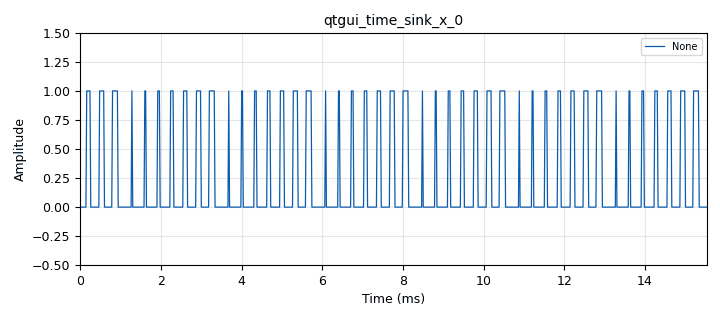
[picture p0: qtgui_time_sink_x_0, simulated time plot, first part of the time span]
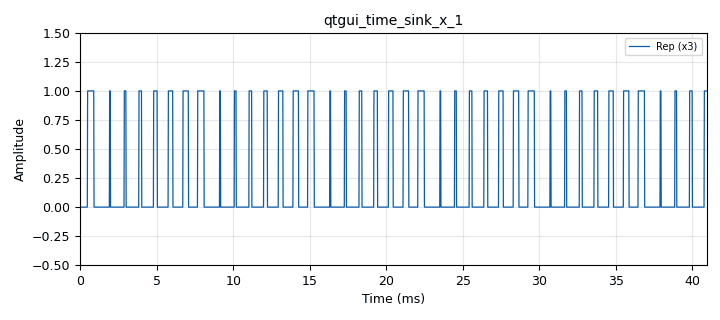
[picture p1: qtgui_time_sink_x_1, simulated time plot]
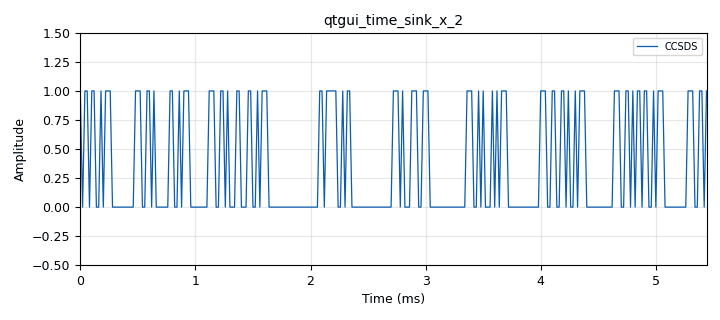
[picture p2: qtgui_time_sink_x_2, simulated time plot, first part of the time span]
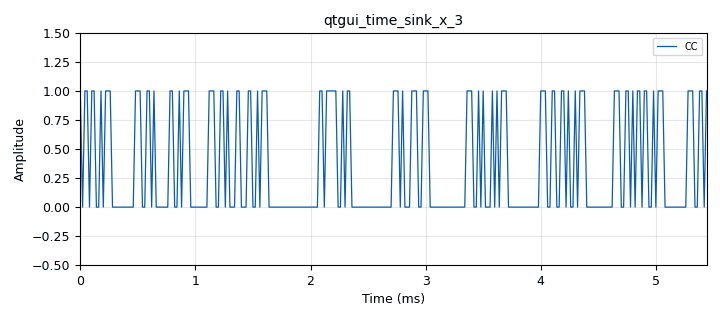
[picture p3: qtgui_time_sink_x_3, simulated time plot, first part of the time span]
options:
  parameters:
    category: Custom
    generate_options: qt_gui
    id: fecapi_tagged_encoders
    output_language: python
  states: {}

blocks:
- name: enc_cc
  id: variable_cc_encoder_def
  parameters:
    dim1: '1'
    framebits: MTU*8
    k: k
    mode: fec.CC_TERMINATED
    ndim: '1'
    padding: 'False'
    polys: polys
    rate: rate
    state_start: '0'
  states: {}
- name: enc_ccsds
  id: variable_ccsds_encoder_def
  parameters:
    dim1: '1'
    framebits: MTU*8
    mode: fec.CC_TERMINATED
    ndim: '1'
    state_start: '0'
  states: {}
- name: enc_dummy
  id: variable_dummy_encoder_def
  parameters:
    dim1: '1'
    framebits: MTU*8
    ndim: '1'
  states: {}
- name: enc_rep
  id: variable_repetition_encoder_def
  parameters:
    dim1: '1'
    framebits: MTU*8
    ndim: '1'
    rep: '3'
  states: {}
- name: k
  id: variable
  parameters:
    value: '7'
  states: {}
- name: length_tag
  id: variable
  parameters:
    value: '"packet_len"'
  states: {}
- name: polys
  id: variable
  parameters:
    value: '[109, 79]'
  states: {}
- name: rate
  id: variable
  parameters:
    value: '2'
  states: {}
- name: samp_rate
  id: variable
  parameters:
    value: '50000'
  states: {}
- name: MTU
  id: parameter
  parameters:
    label: MTU
    type: intx
    value: '1000'
  states: {}
- name: analog_random_source_x_0
  id: analog_random_source_x
  parameters:
    max: '256'
    min: '0'
    num_samps: '1000'
    repeat: 'True'
    type: byte
  states: {state: disabled}
- name: blocks_char_to_float_1
  id: blocks_char_to_float
  parameters:
    scale: '1'
  states: {}
- name: blocks_char_to_float_1_0
  id: blocks_char_to_float
  parameters:
    scale: '1'
  states: {}
- name: blocks_char_to_float_1_0_0
  id: blocks_char_to_float
  parameters:
    scale: '1'
  states: {}
- name: blocks_char_to_float_1_0_0_0
  id: blocks_char_to_float
  parameters:
    scale: '1'
  states: {}
- name: blocks_ctrlport_monitor_performance_0
  id: blocks_ctrlport_monitor_performance
  parameters:
    en: 'True'
  states: {state: disabled}
- name: blocks_repack_bits_bb_0
  id: blocks_repack_bits_bb
  parameters:
    endianness: gr.GR_LSB_FIRST
    k: '8'
    l: '1'
    len_tag_key: packet_len
  states: {}
- name: blocks_stream_to_tagged_stream_0_0
  id: blocks_stream_to_tagged_stream
  parameters:
    len_tag_key: length_tag
    packet_len: frame_size
    type: byte
  states: {}
- name: blocks_throttle_0
  id: blocks_throttle
  parameters:
    samples_per_second: samp_rate
    type: byte
  states: {}
- name: blocks_vector_source_x_0_1_0
  id: blocks_vector_source_x
  parameters:
    repeat: 'True'
    type: byte
    vector: 4*[0, 0, 1, 0, 3, 0, 7, 0, 15, 0, 31, 0, 63, 0, 127]
  states: {}
- name: fec_extended_tagged_encoder_0
  id: fec_extended_tagged_encoder
  parameters:
    encoder_list: enc_dummy
    lentagname: length_tag
    mtu: '1500'
    puncpat: puncpat
  states: {}
- name: fec_extended_tagged_encoder_1
  id: fec_extended_tagged_encoder
  parameters:
    encoder_list: enc_rep
    lentagname: length_tag
    mtu: '1500'
    puncpat: puncpat
  states: {}
- name: fec_extended_tagged_encoder_2
  id: fec_extended_tagged_encoder
  parameters:
    encoder_list: enc_ccsds
    lentagname: length_tag
    mtu: '1500'
    puncpat: puncpat
  states: {}
- name: fec_extended_tagged_encoder_3
  id: fec_extended_tagged_encoder
  parameters:
    encoder_list: enc_cc
    lentagname: length_tag
    mtu: '1500'
    puncpat: puncpat
  states: {}
- name: frame_size
  id: parameter
  parameters:
    label: Frame Size
    type: intx
    value: '30'
  states: {}
- name: puncpat
  id: parameter
  parameters:
    value: '''11'''
  states: {}
- name: qtgui_time_sink_x_0
  id: qtgui_time_sink_x
  parameters:
    color1: '"blue"'
    gui_hint: 0,0,1,1
    label1: None
    name: ''
    size: '2048'
    srate: samp_rate
    tr_tag: packet_len
    type: float
    update_time: '0.05'
    ymax: '1.5'
    ymin: '-0.5'
  states: {}
- name: qtgui_time_sink_x_1
  id: qtgui_time_sink_x
  parameters:
    color1: '"blue"'
    gui_hint: 1,0,1,1
    label1: Rep (x3)
    name: ''
    size: '2048'
    srate: samp_rate
    tr_tag: packet_len
    type: float
    update_time: '0.05'
    ymax: '1.5'
    ymin: '-0.5'
  states: {}
- name: qtgui_time_sink_x_2
  id: qtgui_time_sink_x
  parameters:
    color1: '"blue"'
    gui_hint: 2,0,1,1
    label1: CCSDS
    name: ''
    size: '2048'
    srate: samp_rate
    tr_tag: packet_len
    type: float
    update_time: '0.05'
    ymax: '1.5'
    ymin: '-0.5'
  states: {}
- name: qtgui_time_sink_x_3
  id: qtgui_time_sink_x
  parameters:
    color1: '"blue"'
    gui_hint: 3,0,1,1
    label1: CC
    name: ''
    size: '2048'
    srate: samp_rate
    tr_tag: packet_len
    type: float
    update_time: '0.05'
    ymax: '1.5'
    ymin: '-0.5'
  states: {}

connections:
- [analog_random_source_x_0, '0', blocks_throttle_0, '0']
- [blocks_char_to_float_1, '0', qtgui_time_sink_x_3, '0']
- [blocks_char_to_float_1_0, '0', qtgui_time_sink_x_2, '0']
- [blocks_char_to_float_1_0_0, '0', qtgui_time_sink_x_0, '0']
- [blocks_char_to_float_1_0_0_0, '0', qtgui_time_sink_x_1, '0']
- [blocks_repack_bits_bb_0, '0', fec_extended_tagged_encoder_0, '0']
- [blocks_repack_bits_bb_0, '0', fec_extended_tagged_encoder_1, '0']
- [blocks_repack_bits_bb_0, '0', fec_extended_tagged_encoder_2, '0']
- [blocks_repack_bits_bb_0, '0', fec_extended_tagged_encoder_3, '0']
- [blocks_stream_to_tagged_stream_0_0, '0', blocks_repack_bits_bb_0, '0']
- [blocks_throttle_0, '0', blocks_stream_to_tagged_stream_0_0, '0']
- [blocks_vector_source_x_0_1_0, '0', blocks_throttle_0, '0']
- [fec_extended_tagged_encoder_0, '0', blocks_char_to_float_1_0_0, '0']
- [fec_extended_tagged_encoder_1, '0', blocks_char_to_float_1_0_0_0, '0']
- [fec_extended_tagged_encoder_2, '0', blocks_char_to_float_1_0, '0']
- [fec_extended_tagged_encoder_3, '0', blocks_char_to_float_1, '0']

metadata:
  file_format: 1
